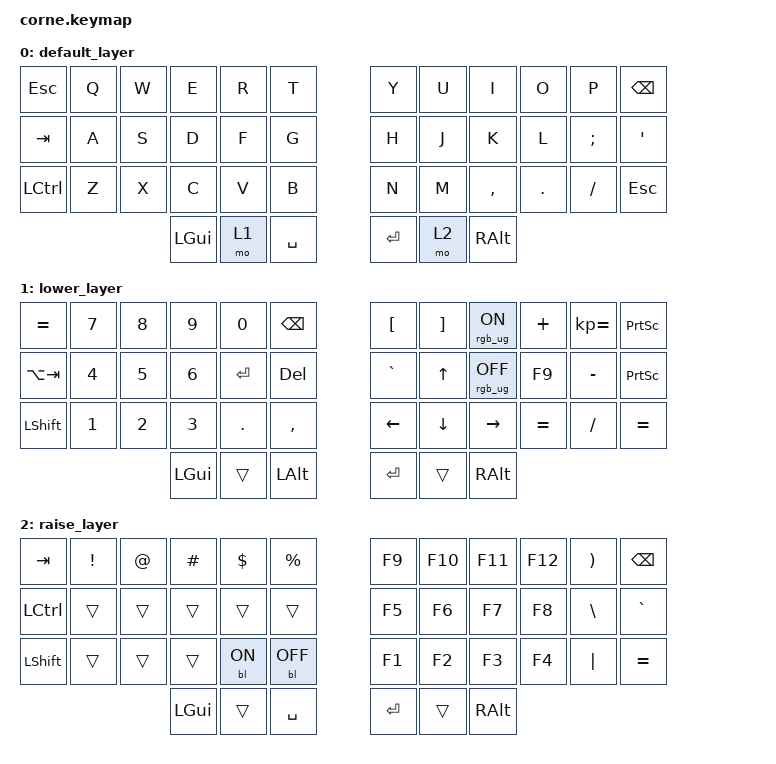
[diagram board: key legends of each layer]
/*
 * Copyright (c) 2023 The ZMK Contributors
 *
 * SPDX-License-Identifier: MIT
 */

#include <behaviors.dtsi>
#include <dt-bindings/zmk/backlight.h>
#include <dt-bindings/zmk/keys.h>
#include <dt-bindings/zmk/rgb.h>

/* Uncomment this block if using RGB*/

&led_strip {
    chain-length = <27>;

    // chain-length = <6>; // Uncomment if using only underglow LEDs
    // chain-length = <21>; // Uncomment if using only per-key LEDs.
    // chain-length = <27>; // Uncomment if using both per-key and underglow LEDs
};

/ {
    combos { compatible = "zmk,combos"; };

    keymap {
        compatible = "zmk,keymap";

        default_layer {
            // -----------------------------------------------------------------------------------------
            // |  TAB |  Q  |  W  |  E  |  R  |  T  |   |  Y  |  U   |  I  |  O  |  P  | BKSP |
            // | CTRL |  A  |  S  |  D  |  F  |  G  |   |  H  |  J   |  K  |  L  |  ;  |  '   |
            // | SHFT |  Z  |  X  |  C  |  V  |  B  |   |  N  |  M   |  ,  |  .  |  /  | ESC  |
            //                    | GUI | LWR | SPC |   | ENT | RSE  | ALT |

            bindings = <
&kp ESCAPE  &kp Q  &kp W  &kp E     &kp R  &kp T        &kp Y    &kp U  &kp I      &kp O    &kp P     &kp BSPC
&kp TAB     &kp A  &kp S  &kp D     &kp F  &kp G        &kp H    &kp J  &kp K      &kp L    &kp SEMI  &kp SQT
&kp LCTRL   &kp Z  &kp X  &kp C     &kp V  &kp B        &kp N    &kp M  &kp COMMA  &kp DOT  &kp FSLH  &kp ESC
                          &kp LGUI  &mo 1  &kp SPACE    &kp RET  &mo 2  &kp RALT
            >;
        };

        lower_layer {
            // -----------------------------------------------------------------------------------------
            // |  TAB |  1  |  2  |  3  |  4  |  5  |   |  6  |  7  |  8  |  9  |  0  | BKSP |
            // | BTCLR| BT1 | BT2 | BT3 | BT4 | BT5 |   | LFT | DWN |  UP | RGT |     |      |
            // | SHFT |     |     |     |     |     |   |     |     |     |     |     |      |
            //                    | GUI |     | SPC |   | ENT |     | ALT |

            bindings = <
&kp EQUAL    &kp N7        &kp N8        &kp N9        &kp N0     &kp BACKSPACE    &kp LEFT_BRACKET  &kp RIGHT_BRACKET  &rgb_ug RGB_ON   &kp PLUS   &kp KP_EQUAL  &kp PRINTSCREEN
&kp LA(TAB)  &kp NUMBER_4  &kp N5        &kp NUMBER_6  &kp ENTER  &kp DEL          &kp GRAVE         &kp UP_ARROW       &rgb_ug RGB_OFF  &kp F9     &kp MINUS     &kp PRINTSCREEN
&kp LSHFT    &kp NUMBER_1  &kp NUMBER_2  &kp NUMBER_3  &kp DOT    &kp COMMA        &kp LEFT_ARROW    &kp DOWN_ARROW     &kp RIGHT        &kp EQUAL  &kp SLASH     &kp EQUAL
                                         &kp LGUI      &trans     &kp LEFT_ALT     &kp RET           &trans             &kp RALT
            >;
        };

        raise_layer {
            // -----------------------------------------------------------------------------------------
            // |  TAB |  !  |  @  |  #  |  $  |  %  |   |  ^  |  &  |  *  |  (  |  )  | BKSP |
            // | CTRL |     |     |     |     |     |   |  -  |  =  |  [  |  ]  |  \  |  `   |
            // | SHFT |     |     |     |     |     |   |  _  |  +  |  {  |  }  | "|" |  ~   |
            //                    | GUI |     | SPC |   | ENT |     | ALT |

            bindings = <
&kp TAB    &kp EXCL  &kp AT  &kp HASH  &kp DLLR   &kp PRCNT     &kp F9   &kp F10  &kp F11   &kp F12  &kp RPAR  &kp BSPC
&kp LCTRL  &trans    &trans  &trans    &trans     &trans        &kp F5   &kp F6   &kp F7    &kp F8   &kp BSLH  &kp GRAVE
&kp LSHFT  &trans    &trans  &trans    &bl BL_ON  &bl BL_OFF    &kp F1   &kp F2   &kp F3    &kp F4   &kp PIPE  &kp EQUAL
                             &kp LGUI  &trans     &kp SPACE     &kp RET  &trans   &kp RALT
            >;
        };
    };
};
